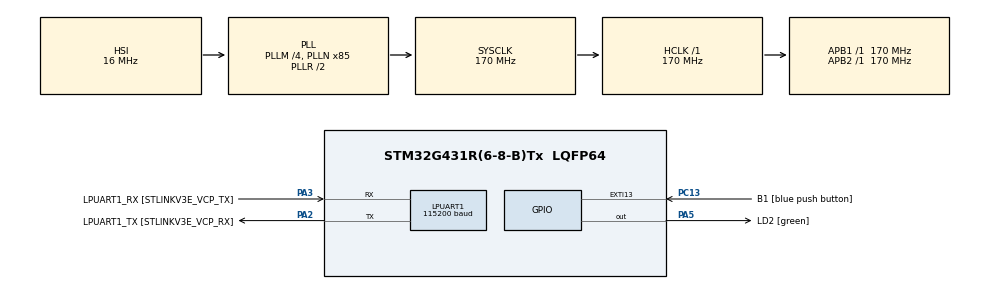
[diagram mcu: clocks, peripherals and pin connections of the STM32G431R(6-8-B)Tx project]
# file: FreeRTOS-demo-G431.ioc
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FREERTOS.Tasks01=blink,24,128,StartBlink,Default,NULL,Dynamic,NULL,NULL;printHello,8,128,StartPrintHello,Default,NULL,Dynamic,NULL,NULL
FREERTOS.configUSE_NEWLIB_REENTRANT=0
LPUART1.BaudRate=115200
LPUART1.WordLength=UART_WORDLENGTH_8B
Mcu.Family=STM32G4
Mcu.Name=STM32G431R(6-8-B)Tx
Mcu.Package=LQFP64
NVIC.PriorityGroup=NVIC_PRIORITYGROUP_4
NVIC.TIM6_DAC_IRQn=true\:15\:0\:false\:false\:true\:false\:false\:true\:true
NVIC.TimeBase=TIM6_DAC_IRQn
NVIC.TimeBaseIP=TIM6
PA13.GPIO_Label=T_SWDIO
PA13.Mode=Serial_Wire
PA13.Signal=SYS_JTMS-SWDIO
PA14.GPIO_Label=T_SWCLK
PA14.Mode=Serial_Wire
PA14.Signal=SYS_JTCK-SWCLK
PA2.GPIO_Label=LPUART1_TX [STLINKV3E_VCP_RX]
PA2.Mode=Asynchronous
PA2.Signal=LPUART1_TX
PA3.GPIO_Label=LPUART1_RX [STLINKV3E_VCP_TX]
PA3.Mode=Asynchronous
PA3.Signal=LPUART1_RX
PA5.GPIO_Label=LD2 [green]
PA5.Signal=GPIO_Output
PB3.GPIO_Label=T_SWO
PB3.Signal=SYS_JTDO-SWO
PC13.GPIO_Label=B1 [blue push button]
PC13.Signal=GPXTI13
PC14-OSC32_IN.Mode=LSE-External-Oscillator
PC14-OSC32_IN.Signal=RCC_OSC32_IN
PC15-OSC32_OUT.Mode=LSE-External-Oscillator
PC15-OSC32_OUT.Signal=RCC_OSC32_OUT
PF0-OSC_IN.Mode=HSE-External-Oscillator
PF0-OSC_IN.Signal=RCC_OSC_IN
PF1-OSC_OUT.Mode=HSE-External-Oscillator
PF1-OSC_OUT.Signal=RCC_OSC_OUT
ProjectManager.HeapSize=0x200
ProjectManager.StackSize=0x400
ProjectManager.TargetToolchain=STM32CubeIDE
RCC.ADC12Freq_Value=170000000
RCC.AHBFreq_Value=170000000
RCC.APB1Freq_Value=170000000
RCC.APB1TimFreq_Value=170000000
RCC.APB2Freq_Value=170000000
RCC.APB2TimFreq_Value=170000000
RCC.CortexFreq_Value=170000000
RCC.EXTERNAL_CLOCK_VALUE=12288000
RCC.HCLKFreq_Value=170000000
RCC.HSE_VALUE=24000000
RCC.HSI48_VALUE=48000000
RCC.HSI_VALUE=16000000
RCC.PLLM=RCC_PLLM_DIV4
RCC.PLLN=85
RCC.RTCClockSelection=RCC_RTCCLKSOURCE_LSE
RCC.SYSCLKFreq_VALUE=170000000
RCC.SYSCLKSource=RCC_SYSCLKSOURCE_PLLCLK
RCC.USBFreq_Value=170000000
RCC.VCOOutputFreq_Value=340000000
VP_FREERTOS_VS_CMSIS_V2.Mode=CMSIS_V2
VP_SYS_VS_DBSignals.Mode=DisableDeadBatterySignals
VP_SYS_VS_tim6.Mode=TIM6
board=NUCLEO-G431RB

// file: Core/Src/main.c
/* USER CODE BEGIN Header */
/**
  ******************************************************************************
  * @file           : main.c
  * @brief          : Main program body
  ******************************************************************************
  * @attention
  *
  * Copyright (c) 2022 STMicroelectronics.
  * All rights reserved.
  *
  * This software is licensed under terms that can be found in the LICENSE file
  * in the root directory of this software component.
  * If no LICENSE file comes with this software, it is provided AS-IS.
  *
  ******************************************************************************
  */
/* USER CODE END Header */
#include "main.h"
#include "cmsis_os.h"

/* USER CODE BEGIN Includes */
#include <stdio.h>
#include <string.h>
/* USER CODE END Includes */

/* USER CODE BEGIN PD */
uint32_t blinkTick = 0;
uint32_t helloTick = 0;
/* USER CODE END PD */

 UART_HandleTypeDef hlpuart1;

/* Definitions for blink */
osThreadId_t blinkHandle;
const osThreadAttr_t blink_attributes = {
  .name = "blink",
  .priority = (osPriority_t) osPriorityNormal,
  .stack_size = 128 * 4
};
/* Definitions for printHello */
osThreadId_t printHelloHandle;
const osThreadAttr_t printHello_attributes = {
  .name = "printHello",
  .priority = (osPriority_t) osPriorityLow,
  .stack_size = 128 * 4
};

void SystemClock_Config(void);
static void MX_GPIO_Init(void);
static void MX_LPUART1_UART_Init(void);
void StartBlink(void *argument);
void StartPrintHello(void *argument);

int main(void)
{

  /* MCU Configuration--------------------------------------------------------*/

  /* Reset of all peripherals, Initializes the Flash interface and the Systick. */
  HAL_Init();

  /* Configure the system clock */
  SystemClock_Config();

  /* Initialize all configured peripherals */
  MX_GPIO_Init();
  MX_LPUART1_UART_Init();

  /* Init scheduler */
  osKernelInitialize();

  /* Create the thread(s) */
  /* creation of blink */
  blinkHandle = osThreadNew(StartBlink, NULL, &blink_attributes);

  /* creation of printHello */
  printHelloHandle = osThreadNew(StartPrintHello, NULL, &printHello_attributes);

  /* Start scheduler */
  osKernelStart();

  /* We should never get here as control is now taken by the scheduler */
  /* Infinite loop */
  while (1)
  {

  }
}

void SystemClock_Config(void)
{
  RCC_OscInitTypeDef RCC_OscInitStruct = {0};
  RCC_ClkInitTypeDef RCC_ClkInitStruct = {0};

  /** Configure the main internal regulator output voltage
  */
  HAL_PWREx_ControlVoltageScaling(PWR_REGULATOR_VOLTAGE_SCALE1_BOOST);

  /** Initializes the RCC Oscillators according to the specified parameters
  * in the RCC_OscInitTypeDef structure.
  */
  RCC_OscInitStruct.OscillatorType = RCC_OSCILLATORTYPE_HSI;
  RCC_OscInitStruct.HSIState = RCC_HSI_ON;
  RCC_OscInitStruct.HSICalibrationValue = RCC_HSICALIBRATION_DEFAULT;
  RCC_OscInitStruct.PLL.PLLState = RCC_PLL_ON;
  RCC_OscInitStruct.PLL.PLLSource = RCC_PLLSOURCE_HSI;
  RCC_OscInitStruct.PLL.PLLM = RCC_PLLM_DIV4;
  RCC_OscInitStruct.PLL.PLLN = 85;
  RCC_OscInitStruct.PLL.PLLP = RCC_PLLP_DIV2;
  RCC_OscInitStruct.PLL.PLLQ = RCC_PLLQ_DIV2;
  RCC_OscInitStruct.PLL.PLLR = RCC_PLLR_DIV2;
  if (HAL_RCC_OscConfig(&RCC_OscInitStruct) != HAL_OK)
  {
    Error_Handler();
  }

  /** Initializes the CPU, AHB and APB buses clocks
  */
  RCC_ClkInitStruct.ClockType = RCC_CLOCKTYPE_HCLK|RCC_CLOCKTYPE_SYSCLK
                              |RCC_CLOCKTYPE_PCLK1|RCC_CLOCKTYPE_PCLK2;
  RCC_ClkInitStruct.SYSCLKSource = RCC_SYSCLKSOURCE_PLLCLK;
  RCC_ClkInitStruct.AHBCLKDivider = RCC_SYSCLK_DIV1;
  RCC_ClkInitStruct.APB1CLKDivider = RCC_HCLK_DIV1;
  RCC_ClkInitStruct.APB2CLKDivider = RCC_HCLK_DIV1;

  if (HAL_RCC_ClockConfig(&RCC_ClkInitStruct, FLASH_LATENCY_4) != HAL_OK)
  {
    Error_Handler();
  }
}

static void MX_LPUART1_UART_Init(void)
{

  hlpuart1.Instance = LPUART1;
  hlpuart1.Init.BaudRate = 115200;
  hlpuart1.Init.WordLength = UART_WORDLENGTH_8B;
  hlpuart1.Init.StopBits = UART_STOPBITS_1;
  hlpuart1.Init.Parity = UART_PARITY_NONE;
  hlpuart1.Init.Mode = UART_MODE_TX_RX;
  hlpuart1.Init.HwFlowCtl = UART_HWCONTROL_NONE;
  hlpuart1.Init.OneBitSampling = UART_ONE_BIT_SAMPLE_DISABLE;
  hlpuart1.Init.ClockPrescaler = UART_PRESCALER_DIV1;
  hlpuart1.AdvancedInit.AdvFeatureInit = UART_ADVFEATURE_NO_INIT;
  if (HAL_UART_Init(&hlpuart1) != HAL_OK)
  {
    Error_Handler();
  }
  if (HAL_UARTEx_SetTxFifoThreshold(&hlpuart1, UART_TXFIFO_THRESHOLD_1_8) != HAL_OK)
  {
    Error_Handler();
  }
  if (HAL_UARTEx_SetRxFifoThreshold(&hlpuart1, UART_RXFIFO_THRESHOLD_1_8) != HAL_OK)
  {
    Error_Handler();
  }
  if (HAL_UARTEx_DisableFifoMode(&hlpuart1) != HAL_OK)
  {
    Error_Handler();
  }

}

static void MX_GPIO_Init(void)
{
  GPIO_InitTypeDef GPIO_InitStruct = {0};

  /* GPIO Ports Clock Enable */
  __HAL_RCC_GPIOC_CLK_ENABLE();
  __HAL_RCC_GPIOF_CLK_ENABLE();
  __HAL_RCC_GPIOA_CLK_ENABLE();
  __HAL_RCC_GPIOB_CLK_ENABLE();

  /*Configure GPIO pin Output Level */
  HAL_GPIO_WritePin(LD2_GPIO_Port, LD2_Pin, GPIO_PIN_RESET);

  /*Configure GPIO pin : B1_Pin */
  GPIO_InitStruct.Pin = B1_Pin;
  GPIO_InitStruct.Mode = GPIO_MODE_IT_RISING;
  GPIO_InitStruct.Pull = GPIO_NOPULL;
  HAL_GPIO_Init(B1_GPIO_Port, &GPIO_InitStruct);

  /*Configure GPIO pin : LD2_Pin */
  GPIO_InitStruct.Pin = LD2_Pin;
  GPIO_InitStruct.Mode = GPIO_MODE_OUTPUT_PP;
  GPIO_InitStruct.Pull = GPIO_NOPULL;
  GPIO_InitStruct.Speed = GPIO_SPEED_FREQ_LOW;
  HAL_GPIO_Init(LD2_GPIO_Port, &GPIO_InitStruct);

}

/* USER CODE BEGIN Header_StartBlink */
/**
  * @brief  Function implementing the blink thread. Priority: Normal
  * @param  argument: Not used
  * @retval None
  */
/* USER CODE END Header_StartBlink */
void StartBlink(void *argument)
{
  /* USER CODE BEGIN 5 */
  /* Infinite loop */
	for(;;)
	{
		uint8_t delay[50];
		sprintf(delay, "Blink Delay: %lu ms\r\n", HAL_GetTick() - blinkTick);
		HAL_GPIO_TogglePin(GPIOA, GPIO_PIN_5);
		HAL_UART_Transmit(&hlpuart1,delay,strlen(delay),10);
		for(int i = 0; i < 100000; ++i);
		blinkTick = HAL_GetTick();
		osDelay(1000);
	}

	// if loop breaks accidentally
	osThreadTerminate(NULL);
  /* USER CODE END 5 */
}

/* USER CODE BEGIN Header_StartPrintHello */
/**
* @brief Function implementing the printHello thread. Priority: Low
* @param argument: Not used
* @retval None
*/
/* USER CODE END Header_StartPrintHello */
void StartPrintHello(void *argument)
{
  /* USER CODE BEGIN StartPrintHello */
  /* Infinite loop */
  for(;;)
  {
	  uint8_t message[50];
	  sprintf(message, "Hello World!\r\nHello Delay: %lu ms\r\n", HAL_GetTick() - helloTick);
	  HAL_UART_Transmit(&hlpuart1,message,strlen(message),10);
	  for(int i = 0; i < 100000; ++i);
	  helloTick = HAL_GetTick();
	  osDelay(1500);
  }
  /* USER CODE END StartPrintHello */
}

void HAL_TIM_PeriodElapsedCallback(TIM_HandleTypeDef *htim)
{
  if (htim->Instance == TIM6) {
    HAL_IncTick();
  }
}

void Error_Handler(void)
{
  __disable_irq();
  while (1)
  {
  }
}
